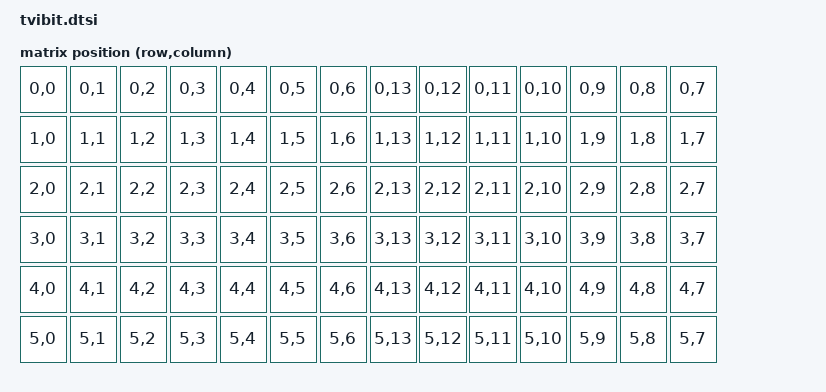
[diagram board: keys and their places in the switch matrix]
#include <dt-bindings/zmk/matrix_transform.h>

/ {
    chosen {
        zmk,kscan = &kscan0;
        zmk,matrix-transform = &default_transform;
        zephyr,display = &oled;
    };

    /*
     * Physical layout -> electrical matrix (generated 1:1 from the KLE layout).
     *
     * Clean 6 rows x 7 columns per half = 42 keys each (84 total).
     *   - Left half  uses transform columns 0..6
     *   - Right half uses transform columns 7..13 (col-offset = 7, in the right .overlay)
     *
     * Row 5 (bottom) carries the finger-bottom keys + the 3 thumb keys + the
     * right-hand arrow block. The thumb keys reuse the column wires of the
     * columns whose bottom key was removed, so no 7th row is needed.
     */
    default_transform: keymap_transform_0 {
        compatible = "zmk,matrix-transform";
        columns = <14>;
        rows = <6>;
        map = <
//      ╭──────────────────── LEFT (cols 0-6) ───────────────────╮ ╭──────────────────── RIGHT (cols 7-13) ───────────────────╮
        RC(0,0)  RC(0,1)  RC(0,2)  RC(0,3)  RC(0,4)  RC(0,5)  RC(0,6)    RC(0,13) RC(0,12) RC(0,11) RC(0,10) RC(0,9)  RC(0,8)  RC(0,7)
        RC(1,0)  RC(1,1)  RC(1,2)  RC(1,3)  RC(1,4)  RC(1,5)  RC(1,6)    RC(1,13) RC(1,12) RC(1,11) RC(1,10) RC(1,9)  RC(1,8)  RC(1,7)
        RC(2,0)  RC(2,1)  RC(2,2)  RC(2,3)  RC(2,4)  RC(2,5)  RC(2,6)    RC(2,13) RC(2,12) RC(2,11) RC(2,10) RC(2,9)  RC(2,8)  RC(2,7)
        RC(3,0)  RC(3,1)  RC(3,2)  RC(3,3)  RC(3,4)  RC(3,5)  RC(3,6)    RC(3,13) RC(3,12) RC(3,11) RC(3,10) RC(3,9)  RC(3,8)  RC(3,7)
        RC(4,0)  RC(4,1)  RC(4,2)  RC(4,3)  RC(4,4)  RC(4,5)  RC(4,6)    RC(4,13) RC(4,12) RC(4,11) RC(4,10) RC(4,9)  RC(4,8)  RC(4,7)
        RC(5,0)  RC(5,1)  RC(5,2)  RC(5,3)  RC(5,4)  RC(5,5)  RC(5,6)    RC(5,13) RC(5,12) RC(5,11) RC(5,10) RC(5,9)  RC(5,8)  RC(5,7)
        >;
    };

    /*
     * Shared kscan skeleton. GPIO pins are filled in per-half in
     * tvibit_left.overlay / tvibit_right.overlay (no PCB yet -> placeholders).
     * 6 row wires + 7 column wires per half.
     */
    kscan0: kscan {
        compatible = "zmk,kscan-gpio-matrix";
        wakeup-source;
        diode-direction = "col2row";
    };
};

/*
 * OLED on the nice!nano I2C header (&pro_micro_i2c). 128x32 SSD1306;
 * change width/height/multiplex-ratio for a 128x64 panel.
 * NOTE: the I2C pins (D2 = P0.17 SDA, D3 = P0.20 SCL) are reserved by this —
 * keep the matrix row/col GPIOs off those pins.
 */
&pro_micro_i2c {
    status = "okay";

    oled: ssd1306@3c {
        compatible = "solomon,ssd1306fb";
        reg = <0x3c>;
        width = <128>;
        height = <32>;
        segment-offset = <0>;
        page-offset = <0>;
        display-offset = <0>;
        multiplex-ratio = <31>;
        segment-remap;
        com-invdir;
        prechargep = <0x22>;
    };
};
